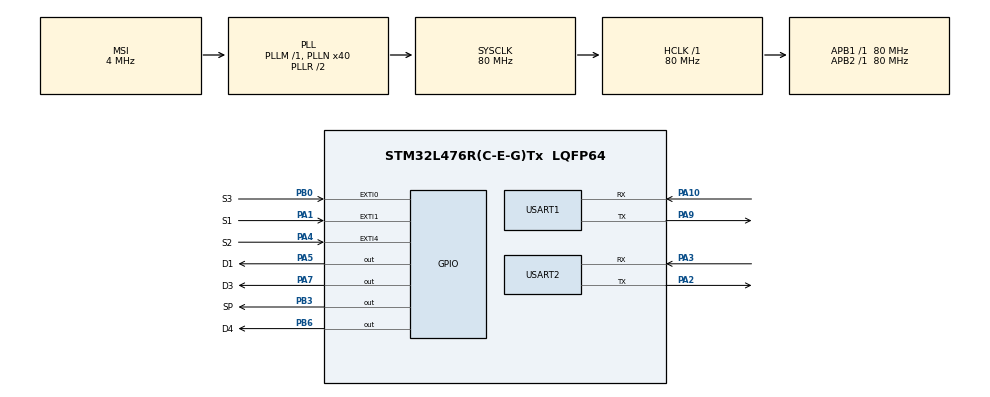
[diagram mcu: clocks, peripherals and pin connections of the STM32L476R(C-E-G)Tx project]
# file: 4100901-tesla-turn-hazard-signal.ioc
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Mcu.Family=STM32L4
Mcu.Name=STM32L476R(C-E-G)Tx
Mcu.Package=LQFP64
NVIC.EXTI0_IRQn=true\:0\:0\:false\:false\:true\:true\:true\:true
NVIC.EXTI1_IRQn=true\:0\:0\:false\:false\:true\:true\:true\:true
NVIC.EXTI4_IRQn=true\:0\:0\:false\:false\:true\:true\:true\:true
NVIC.PriorityGroup=NVIC_PRIORITYGROUP_4
NVIC.USART1_IRQn=true\:0\:0\:false\:false\:true\:true\:true\:true
NVIC.USART2_IRQn=true\:0\:0\:false\:false\:true\:true\:true\:true
PA1.GPIO_Label=S1
PA1.GPIO_ModeDefaultEXTI=GPIO_MODE_IT_FALLING
PA1.Signal=GPXTI1
PA10.Mode=Asynchronous
PA10.Signal=USART1_RX
PA2.Mode=Asynchronous
PA2.Signal=USART2_TX
PA3.Mode=Asynchronous
PA3.Signal=USART2_RX
PA4.GPIO_Label=S2
PA4.GPIO_ModeDefaultEXTI=GPIO_MODE_IT_FALLING
PA4.Signal=GPXTI4
PA5.GPIO_Label=D1
PA5.GPIO_PuPd=GPIO_NOPULL
PA5.PinState=GPIO_PIN_SET
PA5.Signal=GPIO_Output
PA7.GPIO_Label=D3
PA7.PinState=GPIO_PIN_SET
PA7.Signal=GPIO_Output
PA9.Mode=Asynchronous
PA9.Signal=USART1_TX
PB0.GPIO_Label=S3
PB0.GPIO_ModeDefaultEXTI=GPIO_MODE_IT_FALLING
PB0.Signal=GPXTI0
PB3\ (JTDO-TRACESWO).GPIO_Label=SP
PB3\ (JTDO-TRACESWO).GPIO_ModeDefaultOutputPP=GPIO_MODE_OUTPUT_OD
PB3\ (JTDO-TRACESWO).GPIO_PuPd=GPIO_NOPULL
PB3\ (JTDO-TRACESWO).PinState=GPIO_PIN_SET
PB3\ (JTDO-TRACESWO).Signal=GPIO_Output
PB6.GPIO_Label=D4
PB6.PinState=GPIO_PIN_SET
PB6.Signal=GPIO_Output
ProjectManager.HeapSize=0x200
ProjectManager.StackSize=0x400
ProjectManager.TargetToolchain=STM32CubeIDE
RCC.AHBFreq_Value=80000000
RCC.APB1Freq_Value=80000000
RCC.APB1TimFreq_Value=80000000
RCC.APB2Freq_Value=80000000
RCC.APB2TimFreq_Value=80000000
RCC.CortexFreq_Value=80000000
RCC.HCLKFreq_Value=80000000
RCC.HSE_VALUE=8000000
RCC.HSI_VALUE=16000000
RCC.LSE_VALUE=32768
RCC.MSI_VALUE=4000000
RCC.PLLN=40
RCC.SYSCLKFreq_VALUE=80000000
RCC.SYSCLKSource=RCC_SYSCLKSOURCE_PLLCLK
RCC.VCOOutputFreq_Value=160000000
USART1.VirtualMode-Asynchronous=VM_ASYNC
USART2.VirtualMode-Asynchronous=VM_ASYNC
board=custom

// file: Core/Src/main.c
/* USER CODE BEGIN Header */
/**
  ******************************************************************************
  * @file           : main.c
  * @brief          : Main program body
  ******************************************************************************
  * @attention
  *
  * Copyright (c) 2024 STMicroelectronics.
  * All rights reserved.
  *
  * This software is licensed under terms that can be found in the LICENSE file
  * in the root directory of this software component.
  * If no LICENSE file comes with this software, it is provided AS-IS.
  *
  ******************************************************************************
  */
/* USER CODE END Header */
#include "main.h"
#include <string.h>
#include "ring_buffer_2.h"

UART_HandleTypeDef huart1;
UART_HandleTypeDef huart2;

/* USER CODE BEGIN PV */
uint32_t left_toggles=0;
uint32_t right_toggles=0;
uint32_t hazard_toggles=0;

volatile uint8_t left_flag = 0;
volatile uint8_t right_flag = 0;
volatile uint8_t hazard_flag = 0;

/*Variables para el Ring Buffer*/
#define BUFFER_CAPACITY (20)

//buffer de datos Uart1
uint8_t ring_buffer_1_data_1[BUFFER_CAPACITY];
RingBuffer ring_buffer_1;
static uint8_t data_1;

// Buffer de datos Uart2
uint8_t ring_buffer_2_data_2[BUFFER_CAPACITY];
RingBuffer ring_buffer_2;
static uint8_t data_2;
volatile uint8_t data_ready = 0;

// Mi ID
#define MY_ID "1004214804"
#define MY_NAME 'Sergio Botina'

/* USER CODE END PV */

void SystemClock_Config(void);
static void MX_GPIO_Init(void);
static void MX_USART2_UART_Init(void);
static void MX_USART1_UART_Init(void);

/* USER CODE BEGIN 0 */

void turn_signal_left(void){
    static uint32_t turn_toggle_tick = 0;
    static uint8_t blink_count = 0;  // Variable para contar el número de parpadeos
    if (blink_count < 6) {  // Parpadea solo si no se han completado los tres parpadeos
        if (turn_toggle_tick < HAL_GetTick()){
            turn_toggle_tick =  HAL_GetTick() + 670;
            HAL_GPIO_TogglePin(D3_GPIO_Port,D3_Pin);
            blink_count++;  // Incrementa el contador de parpadeos
        }
    }
}

void turn_signal_right(void){
    static uint32_t turn_toggle_tick = 0;
    static uint8_t blink_count = 0;  // Variable para contar el número de parpadeos
    if (blink_count < 6) {  // Parpadea solo si no se han completado los tres parpadeos
        if (turn_toggle_tick < HAL_GetTick()){
            turn_toggle_tick =  HAL_GetTick() + 670;
            HAL_GPIO_TogglePin(D4_GPIO_Port,D4_Pin);
            blink_count++;  // Incrementa el contador de parpadeos
        }
    }
}

void turn_signal_hazard(void){
    static uint32_t turn_toggle_tick = 0;
    static uint8_t blink_count = 0;  // Variable para contar el número de parpadeos
    if (blink_count < 6) {  // Parpadea solo si no se han completado los tres parpadeos
        if (turn_toggle_tick < HAL_GetTick()){
            turn_toggle_tick =  HAL_GetTick() + 670;
            HAL_GPIO_TogglePin(D3_GPIO_Port,D3_Pin);
            HAL_GPIO_TogglePin(D4_GPIO_Port,D4_Pin);
            HAL_GPIO_TogglePin(SP_GPIO_Port,SP_Pin);
            blink_count++;  // Incrementa el contador de parpadeos
        }
    }
}

void HAL_UART_RxCpltCallback(UART_HandleTypeDef *huart) {
  if(huart->Instance == USART1){
    ring_buffer_put(&ring_buffer_1, data_1);
    HAL_UART_Receive_IT(&huart1, &data_1, 1);
  } else

	if (huart->Instance == USART2) {
        ring_buffer_2_put(&ring_buffer_2, data_2);
        HAL_UART_Receive_IT(&huart2, &data_2, 1);
    }
}

void HAL_GPIO_EXTI_Callback(uint16_t GPIO_Pin)
{
  //UNUSED(GPIO_Pin);
  if (GPIO_Pin==S1_Pin){// LEFT
	  HAL_UART_Transmit(&huart2, (uint8_t*)"LEFT\r\n", 6, 10);
	  left_flag = 1;
  } else if (GPIO_Pin==S3_Pin){//RIGHT
	  HAL_UART_Transmit(&huart2, (uint8_t*)"RIGHT\r\n", 7, 10);
	  right_flag = 1;
  } else if (GPIO_Pin==S2_Pin){//HAZARD
	  HAL_UART_Transmit(&huart2, (uint8_t*)"HAZARD\r\n",8, HAL_MAX_DELAY);
	  hazard_flag = 1;
  }

}

void hearbeat(void){
	static uint32_t heartbeat_tick =0;
	if (heartbeat_tick < HAL_GetTick()){
		heartbeat_tick =  HAL_GetTick()+1000;
		HAL_GPIO_TogglePin(D1_GPIO_Port,D1_Pin);
	}
}

/* USER CODE END 0 */

int main(void)
{

  /* MCU Configuration--------------------------------------------------------*/

  /* Reset of all peripherals, Initializes the Flash interface and the Systick. */
  HAL_Init();

  /* Configure the system clock */
  SystemClock_Config();

  /* Initialize all configured peripherals */
  MX_GPIO_Init();
  MX_USART2_UART_Init();
  MX_USART1_UART_Init();
  /* USER CODE BEGIN 2 */

  //define funtios for coneection to other nucleo board whit UART

  /* USER CODE END 2 */

  /* Infinite loop */
  /* USER CODE BEGIN WHILE */
  ring_buffer_2_init(&ring_buffer_2, ring_buffer_2_data_2, BUFFER_CAPACITY);
  HAL_UART_Receive_IT(&huart2, &data_2, 1);// Inicializar la recepción de datos por interrupción
  HAL_UART_Receive_IT(&huart1, &data_2, 1);// Inicializar la recepción de datos por interrupción

  while (1)
  {
    /* USER CODE END WHILE */

    /* USER CODE BEGIN 3 */

	  hearbeat();
    if (ring_buffer_2_is_full(&ring_buffer_2) != 0) {
        data_ready = ring_buffer_2_get(&ring_buffer_2, &data_2);
        int8_t id_incorrect = 0;
        char my_id[] = MY_ID;
        for(uint8_t idx =0; idx < sizeof(my_id); idx++){
          if(ring_buffer_2_get(&ring_buffer_2, &data_2) != 0){
            if (data_2 != my_id[idx]){
                id_incorrect = 1;
            }
          }
        }
        if(id_incorrect == 0){
            HAL_UART_Transmit(&huart2, (uint8_t*)MY_NAME, strlen(MY_NAME), HAL_MAX_DELAY);
        } else {
            HAL_UART_Transmit(&huart2, (uint8_t*)"ID incorrecto\r\n", 15, HAL_MAX_DELAY);
        }
        // Procesar el data
    //  if(ring_buffer_2.is_full || (ring_buffer_2.head != ring_buffer_2.tail)) {
    //       data_ready = ring_buffer_2_get(&ring_buffer_2,&data);
    //       // Procesar el data
    //       HAL_UART_Transmit_IT(&huart2, &data, 1);// Transmitir el data de vuelta
    //       if (data == 'L') {
    //           turn_signal_left();
    //       } else if (data == 'R') {
    //           turn_signal_right();
    //       } else if (data == 'H') {
    //           turn_signal_hazard();
    //       }
    //       HAL_UART_Transmit(&huart2, (uint8_t*)"OK\n\r", 4, HAL_MAX_DELAY);
    //       // Tarea de implementación

      }

  }
  /* USER CODE END 3 */
}

void SystemClock_Config(void)
{
  RCC_OscInitTypeDef RCC_OscInitStruct = {0};
  RCC_ClkInitTypeDef RCC_ClkInitStruct = {0};

  /** Configure the main internal regulator output voltage
  */
  if (HAL_PWREx_ControlVoltageScaling(PWR_REGULATOR_VOLTAGE_SCALE1) != HAL_OK)
  {
    Error_Handler();
  }

  /** Initializes the RCC Oscillators according to the specified parameters
  * in the RCC_OscInitTypeDef structure.
  */
  RCC_OscInitStruct.OscillatorType = RCC_OSCILLATORTYPE_MSI;
  RCC_OscInitStruct.MSIState = RCC_MSI_ON;
  RCC_OscInitStruct.MSICalibrationValue = 0;
  RCC_OscInitStruct.MSIClockRange = RCC_MSIRANGE_6;
  RCC_OscInitStruct.PLL.PLLState = RCC_PLL_ON;
  RCC_OscInitStruct.PLL.PLLSource = RCC_PLLSOURCE_MSI;
  RCC_OscInitStruct.PLL.PLLM = 1;
  RCC_OscInitStruct.PLL.PLLN = 40;
  RCC_OscInitStruct.PLL.PLLP = RCC_PLLP_DIV7;
  RCC_OscInitStruct.PLL.PLLQ = RCC_PLLQ_DIV2;
  RCC_OscInitStruct.PLL.PLLR = RCC_PLLR_DIV2;
  if (HAL_RCC_OscConfig(&RCC_OscInitStruct) != HAL_OK)
  {
    Error_Handler();
  }

  /** Initializes the CPU, AHB and APB buses clocks
  */
  RCC_ClkInitStruct.ClockType = RCC_CLOCKTYPE_HCLK|RCC_CLOCKTYPE_SYSCLK
                              |RCC_CLOCKTYPE_PCLK1|RCC_CLOCKTYPE_PCLK2;
  RCC_ClkInitStruct.SYSCLKSource = RCC_SYSCLKSOURCE_PLLCLK;
  RCC_ClkInitStruct.AHBCLKDivider = RCC_SYSCLK_DIV1;
  RCC_ClkInitStruct.APB1CLKDivider = RCC_HCLK_DIV1;
  RCC_ClkInitStruct.APB2CLKDivider = RCC_HCLK_DIV1;

  if (HAL_RCC_ClockConfig(&RCC_ClkInitStruct, FLASH_LATENCY_4) != HAL_OK)
  {
    Error_Handler();
  }
}

static void MX_USART1_UART_Init(void)
{

  huart1.Instance = USART1;
  huart1.Init.BaudRate = 115200;
  huart1.Init.WordLength = UART_WORDLENGTH_8B;
  huart1.Init.StopBits = UART_STOPBITS_1;
  huart1.Init.Parity = UART_PARITY_NONE;
  huart1.Init.Mode = UART_MODE_TX_RX;
  huart1.Init.HwFlowCtl = UART_HWCONTROL_NONE;
  huart1.Init.OverSampling = UART_OVERSAMPLING_16;
  huart1.Init.OneBitSampling = UART_ONE_BIT_SAMPLE_DISABLE;
  huart1.AdvancedInit.AdvFeatureInit = UART_ADVFEATURE_NO_INIT;
  if (HAL_UART_Init(&huart1) != HAL_OK)
  {
    Error_Handler();
  }

}

static void MX_USART2_UART_Init(void)
{

  huart2.Instance = USART2;
  huart2.Init.BaudRate = 115200;
  huart2.Init.WordLength = UART_WORDLENGTH_8B;
  huart2.Init.StopBits = UART_STOPBITS_1;
  huart2.Init.Parity = UART_PARITY_NONE;
  huart2.Init.Mode = UART_MODE_TX_RX;
  huart2.Init.HwFlowCtl = UART_HWCONTROL_NONE;
  huart2.Init.OverSampling = UART_OVERSAMPLING_16;
  huart2.Init.OneBitSampling = UART_ONE_BIT_SAMPLE_DISABLE;
  huart2.AdvancedInit.AdvFeatureInit = UART_ADVFEATURE_NO_INIT;
  if (HAL_UART_Init(&huart2) != HAL_OK)
  {
    Error_Handler();
  }

}

static void MX_GPIO_Init(void)
{
  GPIO_InitTypeDef GPIO_InitStruct = {0};

  /* GPIO Ports Clock Enable */
  __HAL_RCC_GPIOA_CLK_ENABLE();
  __HAL_RCC_GPIOB_CLK_ENABLE();

  /*Configure GPIO pin Output Level */
  HAL_GPIO_WritePin(GPIOA, D1_Pin|D3_Pin, GPIO_PIN_SET);

  /*Configure GPIO pin Output Level */
  HAL_GPIO_WritePin(GPIOB, SP_Pin|D4_Pin, GPIO_PIN_SET);

  /*Configure GPIO pins : S1_Pin S2_Pin */
  GPIO_InitStruct.Pin = S1_Pin|S2_Pin;
  GPIO_InitStruct.Mode = GPIO_MODE_IT_FALLING;
  GPIO_InitStruct.Pull = GPIO_NOPULL;
  HAL_GPIO_Init(GPIOA, &GPIO_InitStruct);

  /*Configure GPIO pins : D1_Pin D3_Pin */
  GPIO_InitStruct.Pin = D1_Pin|D3_Pin;
  GPIO_InitStruct.Mode = GPIO_MODE_OUTPUT_PP;
  GPIO_InitStruct.Pull = GPIO_NOPULL;
  GPIO_InitStruct.Speed = GPIO_SPEED_FREQ_LOW;
  HAL_GPIO_Init(GPIOA, &GPIO_InitStruct);

  /*Configure GPIO pin : S3_Pin */
  GPIO_InitStruct.Pin = S3_Pin;
  GPIO_InitStruct.Mode = GPIO_MODE_IT_FALLING;
  GPIO_InitStruct.Pull = GPIO_NOPULL;
  HAL_GPIO_Init(S3_GPIO_Port, &GPIO_InitStruct);

  /*Configure GPIO pin : SP_Pin */
  GPIO_InitStruct.Pin = SP_Pin;
  GPIO_InitStruct.Mode = GPIO_MODE_OUTPUT_OD;
  GPIO_InitStruct.Pull = GPIO_NOPULL;
  GPIO_InitStruct.Speed = GPIO_SPEED_FREQ_LOW;
  HAL_GPIO_Init(SP_GPIO_Port, &GPIO_InitStruct);

  /*Configure GPIO pin : D4_Pin */
  GPIO_InitStruct.Pin = D4_Pin;
  GPIO_InitStruct.Mode = GPIO_MODE_OUTPUT_PP;
  GPIO_InitStruct.Pull = GPIO_NOPULL;
  GPIO_InitStruct.Speed = GPIO_SPEED_FREQ_LOW;
  HAL_GPIO_Init(D4_GPIO_Port, &GPIO_InitStruct);

  /* EXTI interrupt init*/
  HAL_NVIC_SetPriority(EXTI0_IRQn, 0, 0);
  HAL_NVIC_EnableIRQ(EXTI0_IRQn);

  HAL_NVIC_SetPriority(EXTI1_IRQn, 0, 0);
  HAL_NVIC_EnableIRQ(EXTI1_IRQn);

  HAL_NVIC_SetPriority(EXTI4_IRQn, 0, 0);
  HAL_NVIC_EnableIRQ(EXTI4_IRQn);

}

void Error_Handler(void)
{
  __disable_irq();
  while (1)
  {
  }
}
